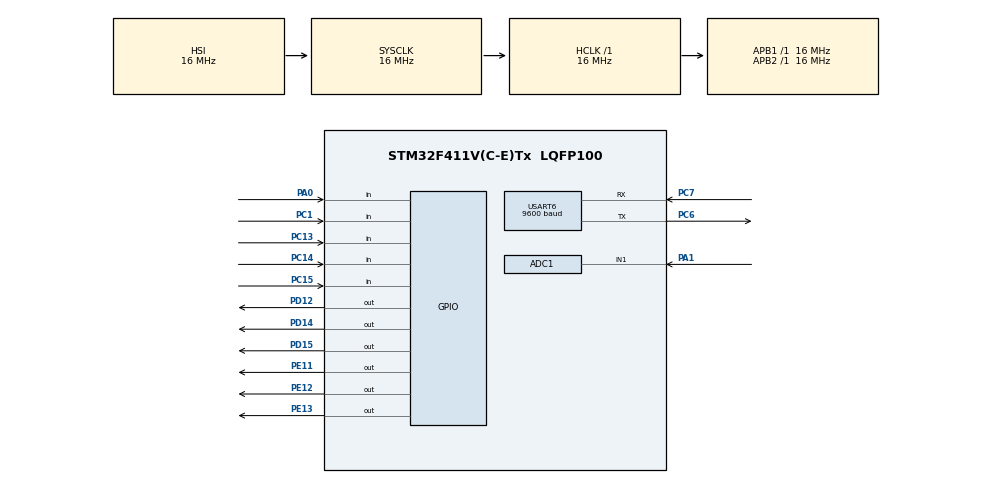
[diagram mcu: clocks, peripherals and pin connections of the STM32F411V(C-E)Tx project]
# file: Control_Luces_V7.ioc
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ADC1.Channel-16\#ChannelRegularConversion=ADC_CHANNEL_1
ADC1.NbrOfConversionFlag=1
ADC1.Rank-16\#ChannelRegularConversion=1
ADC1.Resolution=ADC_RESOLUTION_10B
ADC1.SamplingTime-16\#ChannelRegularConversion=ADC_SAMPLETIME_3CYCLES
ADC1.master=1
Mcu.Family=STM32F4
Mcu.Name=STM32F411V(C-E)Tx
Mcu.Package=LQFP100
NVIC.ADC_IRQn=true\:0\:0\:false\:true\:true\:2\:true
NVIC.PriorityGroup=NVIC_PRIORITYGROUP_4
NVIC.TIM3_IRQn=true\:0\:0\:false\:true\:true\:1\:true
NVIC.USART6_IRQn=true\:0\:0\:false\:true\:true\:3\:true
PA0-WKUP.Signal=GPIO_Input
PA1.Signal=ADCx_IN1
PC1.Signal=GPIO_Input
PC13-ANTI_TAMP.Signal=GPIO_Input
PC14-OSC32_IN.Signal=GPIO_Input
PC15-OSC32_OUT.Signal=GPIO_Input
PC6.Mode=Asynchronous
PC6.Signal=USART6_TX
PC7.Mode=Asynchronous
PC7.Signal=USART6_RX
PD12.Signal=GPIO_Output
PD14.Signal=GPIO_Output
PD15.Signal=GPIO_Output
PE11.Signal=GPIO_Output
PE12.Signal=GPIO_Output
PE13.Signal=GPIO_Output
ProjectManager.HeapSize=0x200
ProjectManager.StackSize=0x400
ProjectManager.TargetToolchain=MDK-ARM V5
RCC.AHBFreq_Value=16000000
RCC.APB1Freq_Value=16000000
RCC.APB2Freq_Value=16000000
RCC.CortexFreq_Value=16000000
RCC.HSE_VALUE=25000000
RCC.HSI_VALUE=16000000
RCC.LSE_VALUE=32768
RCC.SYSCLKFreq_VALUE=16000000
RCC.VCOOutputFreq_Value=192000000
SH.ADCx_IN1.0=ADC1_IN1,IN1
TIM3.Period=1600
TIM3.Prescaler=35999
USART6.BaudRate=9600
USART6.VirtualMode=VM_ASYNC
VP_TIM3_VS_ClockSourceINT.Mode=Internal
board=custom

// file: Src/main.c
/* USER CODE BEGIN Header */
/**
  ******************************************************************************
  * @file           : main.c
  * @brief          : Main program body
  ******************************************************************************
  ** This notice applies to any and all portions of this file
  * that are not between comment pairs USER CODE BEGIN and
  * USER CODE END. Other portions of this file, whether
  * inserted by the user or by software development tools
  * are owned by their respective copyright owners.
  *
  * COPYRIGHT(c) 2018 STMicroelectronics
  *
  * Redistribution and use in source and binary forms, with or without modification,
  * are permitted provided that the following conditions are met:
  *   1. Redistributions of source code must retain the above copyright notice,
  *      this list of conditions and the following disclaimer.
  *   2. Redistributions in binary form must reproduce the above copyright notice,
  *      this list of conditions and the following disclaimer in the documentation
  *      and/or other materials provided with the distribution.
  *   3. Neither the name of STMicroelectronics nor the names of its contributors
  *      may be used to endorse or promote products derived from this software
  *      without specific prior written permission.
  *
  * THIS SOFTWARE IS PROVIDED BY THE COPYRIGHT HOLDERS AND CONTRIBUTORS "AS IS"
  * AND ANY EXPRESS OR IMPLIED WARRANTIES, INCLUDING, BUT NOT LIMITED TO, THE
  * IMPLIED WARRANTIES OF MERCHANTABILITY AND FITNESS FOR A PARTICULAR PURPOSE ARE
  * DISCLAIMED. IN NO EVENT SHALL THE COPYRIGHT HOLDER OR CONTRIBUTORS BE LIABLE
  * FOR ANY DIRECT, INDIRECT, INCIDENTAL, SPECIAL, EXEMPLARY, OR CONSEQUENTIAL
  * DAMAGES (INCLUDING, BUT NOT LIMITED TO, PROCUREMENT OF SUBSTITUTE GOODS OR
  * SERVICES; LOSS OF USE, DATA, OR PROFITS; OR BUSINESS INTERRUPTION) HOWEVER
  * CAUSED AND ON ANY THEORY OF LIABILITY, WHETHER IN CONTRACT, STRICT LIABILITY,
  * OR TORT (INCLUDING NEGLIGENCE OR OTHERWISE) ARISING IN ANY WAY OUT OF THE USE
  * OF THIS SOFTWARE, EVEN IF ADVISED OF THE POSSIBILITY OF SUCH DAMAGE.
  *
  ******************************************************************************
  */
/* USER CODE END Header */

#include "main.h"

/* USER CODE BEGIN Includes */
#include <string.h>
#include "stm32f4xx_hal.h"
/* USER CODE END Includes */

/* USER CODE BEGIN PD */
#define REF_Debounce 100
#define DIF_Temp 1

/* USER CODE END PD */

ADC_HandleTypeDef hadc1;
TIM_HandleTypeDef htim3;
UART_HandleTypeDef huart6;

/* USER CODE BEGIN PV */
//Para modos de funcionamiento
volatile int EnEspera_Funcionando = 0;
volatile int user_mode = 0;
int Sis_BT = 0;

//Para el debounce
extern uint32_t last_time;
extern uint32_t counter_ms;

//Para estado de los pulsadores
int boton_pulsado_modo = 0;
int boton_pulsado_azul = 0;
int boton_pulsado_L1 = 0;
int boton_pulsado_L2 = 0;
int boton_pulsado_L3 = 0;
int N = 0;

//Para marcar en que momento de la secuencia de user_mode = 1 se encuentra
volatile int paso = 0;

//Para el conversor analógico-digital
uint32_t adcValue;
float temperature;
float temp_ambiente;
int temperatura_tomada;
int sensor_activa;

//Para comunicación serie bluetooth
char rx_buffer[10];
char tx_buffer[10];

/* USER CODE END PV */

void SystemClock_Config(void);
static void MX_GPIO_Init(void);
static void MX_TIM3_Init(void);
static void MX_ADC1_Init(void);
static void MX_USART6_UART_Init(void);
static void MX_NVIC_Init(void);
/* USER CODE BEGIN PFP */
void ConfigureSysTick(void);
uint32_t millis(void);

/* USER CODE END PFP */

int main(void)
{

  /* MCU Configuration--------------------------------------------------------*/

  /* Reset of all peripherals, Initializes the Flash interface and the Systick. */
  HAL_Init();

  /* Configure the system clock */
  SystemClock_Config();

  /* Initialize all configured peripherals */
  MX_GPIO_Init();
  MX_TIM3_Init();
  MX_ADC1_Init();
  MX_USART6_UART_Init();

  /* Initialize interrupts */
  MX_NVIC_Init();
  /* USER CODE BEGIN 2 */

	//Inicialización de timers
	SysTick_Config(SystemCoreClock/1000); //Para interrupciones cada 1ms
	HAL_TIM_Base_Start_IT(&htim3);
	NVIC_DisableIRQ(TIM3_IRQn);

	//Inicialización de variables
	user_mode = 0;
	EnEspera_Funcionando = 0;
	boton_pulsado_modo = 0;
	boton_pulsado_azul = 0;
  boton_pulsado_L1 = 0;
  boton_pulsado_L2 = 0;
  boton_pulsado_L3 = 0;
	paso = 0;

	//Para el oonversor analógico-digital
	adcValue = 0;
	temperature = 0;
	temp_ambiente = 0;
	temperatura_tomada = 0;
	sensor_activa = 0;
  /* USER CODE END 2 */

  /* Infinite loop */
  while (1)
  {

    /* USER CODE BEGIN 3 */

////////////////////////////////////////////CÓDIGO PARA EL FUNCIONAMIENTO DEL SENSOR DE TEMPERATURA////////////////////////////////////////////

		HAL_ADC_Start(&hadc1);

		if (HAL_ADC_PollForConversion(&hadc1, 5) == HAL_OK){
			adcValue = HAL_ADC_GetValue(&hadc1); //Si la conversión es exitosa, leemos el valor adc.
		}

		if(adcValue > 0){
			temperature = (float)adcValue/1024;
			temperature = temperature * 0.7; //Obtener temperatura en forma de voltaje
			temperature = temperature - 0.01;	//Resta el offset de la recta
			temperature = temperature * 100; //Obtener temperatura en forma de grados
		}

		if (temperatura_tomada == 0){
			temp_ambiente = temperature;
			int int_temp_ambiente = (int)temp_ambiente;

			HAL_UART_Transmit(&huart6, (uint8_t*)tx_buffer, sprintf (tx_buffer, "Temperatura ambiente: %d\n", int_temp_ambiente), 500);
			temperatura_tomada = 1;
		}

		if (temperature >= (temp_ambiente + DIF_Temp)){
			HAL_GPIO_WritePin(GPIOD, GPIO_PIN_15, GPIO_PIN_SET);
		}

		else{
			HAL_GPIO_WritePin(GPIOD, GPIO_PIN_15, GPIO_PIN_RESET);
		}

		HAL_Delay(50);

////////////////////////////////////////////CÓDIGO PARA EL FUNCIONAMIENTO DEL SISTEMA DE LUCES CON MOVIL////////////////////////////////////////////

		HAL_UART_Receive(&huart6, (uint8_t*)rx_buffer, 10, 500);

			//MOSTRAR TEMPERTAURA
			if(rx_buffer[0] == 'T' && rx_buffer[1] == 'E' && rx_buffer[2] == 'M' && rx_buffer[3] == 'P'){
				int int_temperatura = temperature;
				HAL_UART_Transmit(&huart6, (uint8_t*)tx_buffer, sprintf (tx_buffer, "Temperatura: %d\n", int_temperatura), 500);
				memset (rx_buffer, 0, 10);
			}

			//LUZ 1
			else if(rx_buffer[0] == 'L' && rx_buffer[1] == '1' && rx_buffer[2] == 'O' && rx_buffer[3] == 'N'){
				HAL_GPIO_WritePin(GPIOE, GPIO_PIN_11, GPIO_PIN_RESET);
				memset (rx_buffer, 0, 10);
				HAL_UART_Transmit(&huart6, (uint8_t*)tx_buffer, sprintf (tx_buffer, "Lampara 1 encendida\n"), 500);
			}

			else if(rx_buffer[0] == 'L' && rx_buffer[1] == '1' && rx_buffer[2] == 'O' && rx_buffer[3] == 'F' && rx_buffer[4] == 'F'){
				HAL_GPIO_WritePin(GPIOE, GPIO_PIN_11, GPIO_PIN_SET);
				memset (rx_buffer, 0, 10);
				HAL_UART_Transmit(&huart6, (uint8_t*)tx_buffer, sprintf (tx_buffer, "Lampara 1 apagada\n"), 500);
			}

			//LUZ 2
			else if(rx_buffer[0] == 'L' && rx_buffer[1] == '2' && rx_buffer[2] == 'O' && rx_buffer[3] == 'N'){
				HAL_GPIO_WritePin(GPIOE, GPIO_PIN_12, GPIO_PIN_RESET);
				memset (rx_buffer, 0, 10);
				HAL_UART_Transmit(&huart6, (uint8_t*)tx_buffer, sprintf (tx_buffer, "Lampara 2 encendida\n"), 500);
			}

			else if(rx_buffer[0] == 'L' && rx_buffer[1] == '2' && rx_buffer[2] == 'O' && rx_buffer[3] == 'F' && rx_buffer[4] == 'F'){
				HAL_GPIO_WritePin(GPIOE, GPIO_PIN_12, GPIO_PIN_SET);
				memset (rx_buffer, 0, 10);
				HAL_UART_Transmit(&huart6, (uint8_t*)tx_buffer, sprintf (tx_buffer, "Lampara 2 apagada\n"), 500);
			}

			//LUZ 3
			else if(rx_buffer[0] == 'L' && rx_buffer[1] == '3' && rx_buffer[2] == 'O' && rx_buffer[3] == 'N'){
				HAL_GPIO_WritePin(GPIOE, GPIO_PIN_13, GPIO_PIN_RESET);
				memset (rx_buffer, 0, 10);
				HAL_UART_Transmit(&huart6, (uint8_t*)tx_buffer, sprintf (tx_buffer, "Lampara 3 encendida\n"), 500);
			}

			else if(rx_buffer[0] == 'L' && rx_buffer[1] == '3' && rx_buffer[2] == 'O' && rx_buffer[3] == 'F' && rx_buffer[4] == 'F'){
				HAL_GPIO_WritePin(GPIOE, GPIO_PIN_13, GPIO_PIN_SET);
				memset (rx_buffer, 0, 10);
				HAL_UART_Transmit(&huart6, (uint8_t*)tx_buffer, sprintf (tx_buffer, "Lampara 3 apagada\n"), 500);

			}

////////////////////////////////////////CÓDIGO PARA EL FUNCIONAMIENTO DEL SISTEMA DE LUCES SIN MÓVIL////////////////////////////////////////

		if (rx_buffer[0] == 'S' && rx_buffer[1] == 'I' && rx_buffer[2] == 'S' && rx_buffer[3] == 'O' && rx_buffer[4] == 'F' && rx_buffer[5] == 'F'){
			Sis_BT = 1; //EL SISTEMA PASA A ESTADO STANDBY POR BLUETOOTH
		}

		else if (rx_buffer[0] == 'S' && rx_buffer[1] == 'I' && rx_buffer[2] == 'S' && rx_buffer[3] == 'O' && rx_buffer[4] == 'N') {
			Sis_BT = 2; //EL SISTEMA PASA A ESTADO DE FUNCIONAMIENTO POR BLUETOOTH
		}

		if (HAL_GPIO_ReadPin(GPIOA, GPIO_PIN_0) == 1 && boton_pulsado_azul == 0){
			last_time = millis(); //Guarda el valor de millis()
			boton_pulsado_azul = 1;
		}

		if (((HAL_GPIO_ReadPin(GPIOA, GPIO_PIN_0) == 1) && ((millis() - last_time) > REF_Debounce)) || Sis_BT == 1 || Sis_BT == 2){
			boton_pulsado_azul = 0;

			if (EnEspera_Funcionando == 0 || Sis_BT == 1){ //APAGA EL SISTEMA (STANDBY)
				memset (rx_buffer, 0, 10);
			  HAL_GPIO_WritePin(GPIOE, GPIO_PIN_11, GPIO_PIN_SET);
				HAL_GPIO_WritePin(GPIOE, GPIO_PIN_12, GPIO_PIN_SET);
				HAL_GPIO_WritePin(GPIOE, GPIO_PIN_13, GPIO_PIN_SET);
				EnEspera_Funcionando = 1;
				HAL_UART_Transmit(&huart6, (uint8_t*)tx_buffer, sprintf (tx_buffer, "Sistema apagado (stanby)\n"), 500);

			}

			else if(EnEspera_Funcionando == 1 || Sis_BT == 2){ //PONE EL SISTEMA EN FUNCIONAMIENTO
				memset (rx_buffer, 0, 10);
			  HAL_GPIO_WritePin(GPIOE, GPIO_PIN_11, GPIO_PIN_SET);
				HAL_GPIO_WritePin(GPIOE, GPIO_PIN_12, GPIO_PIN_SET);
				HAL_GPIO_WritePin(GPIOE, GPIO_PIN_13, GPIO_PIN_SET);
				EnEspera_Funcionando = 0;
				HAL_UART_Transmit(&huart6, (uint8_t*)tx_buffer, sprintf (tx_buffer, "Sistema en funcionamiento\n"), 500);
			}

			user_mode = 0;
			Sis_BT = 0;
		}

		if (EnEspera_Funcionando == 0){ //ESTADO EN FUNCIONAMIENTO

			HAL_GPIO_WritePin(GPIOD, GPIO_PIN_14, GPIO_PIN_RESET); //Led rojo se apaga

			//Se pulsa el boton de cambio de modo
			if ((HAL_GPIO_ReadPin(GPIOC, GPIO_PIN_1) == 1) && boton_pulsado_modo == 0){
					last_time = millis(); //Guarda el valor de millis()
					boton_pulsado_modo = 1;
			}

			//Se confirma que se ha pulsado y cambia a modo automático
			if(((user_mode == 0 && HAL_GPIO_ReadPin(GPIOC, GPIO_PIN_1) == 0) && ((millis() - last_time) > REF_Debounce) && (boton_pulsado_modo == 1)) || (rx_buffer[0] == 'M' && rx_buffer[1] == 'O' && rx_buffer[2] == 'D' && rx_buffer[3] == 'A')){
					memset (rx_buffer, 0, 10);
					NVIC_EnableIRQ(TIM3_IRQn);
					HAL_GPIO_WritePin (GPIOD, GPIO_PIN_12, GPIO_PIN_SET); //Led verde encendido
					HAL_GPIO_WritePin(GPIOE, GPIO_PIN_11, GPIO_PIN_SET);
					HAL_GPIO_WritePin(GPIOE, GPIO_PIN_12, GPIO_PIN_SET);
					HAL_GPIO_WritePin(GPIOE, GPIO_PIN_13, GPIO_PIN_SET);
					user_mode = 1;
		  		HAL_UART_Transmit(&huart6, (uint8_t*)tx_buffer, sprintf (tx_buffer, "Cambio a modo automatico\n"), 500);
			}

			//Se confirma que se ha pulsado y cambia a modo manual
			else if((user_mode == 1 && (HAL_GPIO_ReadPin(GPIOC, GPIO_PIN_1) == 0) && ((millis() - last_time) > REF_Debounce) && (boton_pulsado_modo == 1)) || (rx_buffer[0] == 'M' && rx_buffer[1] == 'O' && rx_buffer[2] == 'D' && rx_buffer[3] == 'M')){
					memset (rx_buffer, 0, 10);
					NVIC_DisableIRQ(TIM3_IRQn);
					HAL_GPIO_WritePin(GPIOE, GPIO_PIN_11, GPIO_PIN_SET);
					HAL_GPIO_WritePin(GPIOE, GPIO_PIN_12, GPIO_PIN_SET);
					HAL_GPIO_WritePin(GPIOE, GPIO_PIN_13, GPIO_PIN_SET);
					user_mode = 0;
		  		HAL_UART_Transmit(&huart6, (uint8_t*)tx_buffer, sprintf (tx_buffer, "Cambio a modo manual\n"), 500);

					boton_pulsado_modo = 0;

			}

			//USUARIO EN MODO MANUAL
			if (user_mode == 0){

				HAL_GPIO_WritePin (GPIOD, GPIO_PIN_12, GPIO_PIN_RESET); //Led verde apagado

				//Si se pulsa el primer pulsador...
				if (HAL_GPIO_ReadPin(GPIOC, GPIO_PIN_15) == 0 && boton_pulsado_L1 == 0){
					last_time = millis(); //Guarda el valor de millis()
					boton_pulsado_L1 = 1;
				}

				if ((HAL_GPIO_ReadPin(GPIOC, GPIO_PIN_15) == 0) && (millis() - last_time) > REF_Debounce && (boton_pulsado_L1 == 1)){
						HAL_GPIO_TogglePin(GPIOE, GPIO_PIN_11);
						boton_pulsado_L1 = 0;
				}

				//Si se detecta una temperatura superior a la ambiente en tres grados o se pulsa el segundo pulsador...
				if (temperature <= (temp_ambiente + DIF_Temp) && sensor_activa == 0){
					if (HAL_GPIO_ReadPin(GPIOC, GPIO_PIN_14) == 0 && boton_pulsado_L2 == 0){
						last_time = millis(); //Guarda el valor de millis()
						boton_pulsado_L2 = 1;
					}

					if ((HAL_GPIO_ReadPin(GPIOC, GPIO_PIN_14) == 0) && (millis() - last_time) > REF_Debounce && (boton_pulsado_L2 == 1)){
							HAL_GPIO_TogglePin(GPIOE, GPIO_PIN_12);
							boton_pulsado_L2 = 0;
					}
				}

				if (sensor_activa == 0 && temperature > (temp_ambiente + DIF_Temp)){
					HAL_GPIO_WritePin(GPIOE, GPIO_PIN_12, GPIO_PIN_RESET);
					sensor_activa = 1;
				}

				else if (sensor_activa == 1 && (temperature <= (temp_ambiente + DIF_Temp))){
					HAL_GPIO_WritePin(GPIOE, GPIO_PIN_12, GPIO_PIN_SET);
					sensor_activa = 0;
				}

				//Si se pulsa el tercer pulsador...
				if (HAL_GPIO_ReadPin(GPIOC, GPIO_PIN_13) == 0 && boton_pulsado_L3 == 0){
					last_time = millis(); //Guarda el valor de millis()
					boton_pulsado_L3 = 1;
				}

				if ((HAL_GPIO_ReadPin(GPIOC, GPIO_PIN_13) == 0) && (millis() - last_time) > REF_Debounce && (boton_pulsado_L3 == 1)){
						HAL_GPIO_TogglePin(GPIOE, GPIO_PIN_13);
						boton_pulsado_L3 = 0;
				}
			}
		}

		else if (EnEspera_Funcionando == 1){ //ESTADO STANDBY
			HAL_GPIO_WritePin(GPIOD, GPIO_PIN_14, GPIO_PIN_SET); //Led rojo
			HAL_GPIO_WritePin (GPIOD, GPIO_PIN_12, GPIO_PIN_RESET); //Led verde

			HAL_GPIO_WritePin(GPIOE, GPIO_PIN_11, GPIO_PIN_SET);
			HAL_GPIO_WritePin(GPIOE, GPIO_PIN_12, GPIO_PIN_SET);
			HAL_GPIO_WritePin(GPIOE, GPIO_PIN_13, GPIO_PIN_SET);
		}
  }
  /* USER CODE END 3 */
}

void SystemClock_Config(void)
{
  RCC_OscInitTypeDef RCC_OscInitStruct = {0};
  RCC_ClkInitTypeDef RCC_ClkInitStruct = {0};

  /**Configure the main internal regulator output voltage
  */
  __HAL_RCC_PWR_CLK_ENABLE();
  __HAL_PWR_VOLTAGESCALING_CONFIG(PWR_REGULATOR_VOLTAGE_SCALE1);
  /**Initializes the CPU, AHB and APB busses clocks
  */
  RCC_OscInitStruct.OscillatorType = RCC_OSCILLATORTYPE_HSI;
  RCC_OscInitStruct.HSIState = RCC_HSI_ON;
  RCC_OscInitStruct.HSICalibrationValue = RCC_HSICALIBRATION_DEFAULT;
  RCC_OscInitStruct.PLL.PLLState = RCC_PLL_NONE;
  if (HAL_RCC_OscConfig(&RCC_OscInitStruct) != HAL_OK)
  {
    Error_Handler();
  }
  /**Initializes the CPU, AHB and APB busses clocks
  */
  RCC_ClkInitStruct.ClockType = RCC_CLOCKTYPE_HCLK|RCC_CLOCKTYPE_SYSCLK
                              |RCC_CLOCKTYPE_PCLK1|RCC_CLOCKTYPE_PCLK2;
  RCC_ClkInitStruct.SYSCLKSource = RCC_SYSCLKSOURCE_HSI;
  RCC_ClkInitStruct.AHBCLKDivider = RCC_SYSCLK_DIV1;
  RCC_ClkInitStruct.APB1CLKDivider = RCC_HCLK_DIV1;
  RCC_ClkInitStruct.APB2CLKDivider = RCC_HCLK_DIV1;

  if (HAL_RCC_ClockConfig(&RCC_ClkInitStruct, FLASH_LATENCY_0) != HAL_OK)
  {
    Error_Handler();
  }
}

/**
  * @brief NVIC Configuration.
  * @retval None
  */
static void MX_NVIC_Init(void)
{
  /* TIM3_IRQn interrupt configuration */
  HAL_NVIC_SetPriority(TIM3_IRQn, 0, 0);
  HAL_NVIC_EnableIRQ(TIM3_IRQn);
  /* ADC_IRQn interrupt configuration */
  HAL_NVIC_SetPriority(ADC_IRQn, 0, 0);
  HAL_NVIC_EnableIRQ(ADC_IRQn);
  /* USART6_IRQn interrupt configuration */
  HAL_NVIC_SetPriority(USART6_IRQn, 0, 0);
  HAL_NVIC_EnableIRQ(USART6_IRQn);
}

static void MX_ADC1_Init(void)
{

  ADC_ChannelConfTypeDef sConfig = {0};

  /**Configure the global features of the ADC (Clock, Resolution, Data Alignment and number of conversion)
  */
  hadc1.Instance = ADC1;
  hadc1.Init.ClockPrescaler = ADC_CLOCK_SYNC_PCLK_DIV2;
  hadc1.Init.Resolution = ADC_RESOLUTION_10B;
  hadc1.Init.ScanConvMode = DISABLE;
  hadc1.Init.ContinuousConvMode = DISABLE;
  hadc1.Init.DiscontinuousConvMode = DISABLE;
  hadc1.Init.ExternalTrigConvEdge = ADC_EXTERNALTRIGCONVEDGE_NONE;
  hadc1.Init.ExternalTrigConv = ADC_SOFTWARE_START;
  hadc1.Init.DataAlign = ADC_DATAALIGN_RIGHT;
  hadc1.Init.NbrOfConversion = 1;
  hadc1.Init.DMAContinuousRequests = DISABLE;
  hadc1.Init.EOCSelection = ADC_EOC_SINGLE_CONV;
  if (HAL_ADC_Init(&hadc1) != HAL_OK)
  {
    Error_Handler();
  }
  /**Configure for the selected ADC regular channel its corresponding rank in the sequencer and its sample time.
  */
  sConfig.Channel = ADC_CHANNEL_1;
  sConfig.Rank = 1;
  sConfig.SamplingTime = ADC_SAMPLETIME_3CYCLES;
  if (HAL_ADC_ConfigChannel(&hadc1, &sConfig) != HAL_OK)
  {
    Error_Handler();
  }

}

static void MX_TIM3_Init(void)
{

  TIM_ClockConfigTypeDef sClockSourceConfig = {0};
  TIM_MasterConfigTypeDef sMasterConfig = {0};

  htim3.Instance = TIM3;
  htim3.Init.Prescaler = 35999;
  htim3.Init.CounterMode = TIM_COUNTERMODE_UP;
  htim3.Init.Period = 1600;
  htim3.Init.ClockDivision = TIM_CLOCKDIVISION_DIV1;
  if (HAL_TIM_Base_Init(&htim3) != HAL_OK)
  {
    Error_Handler();
  }
  sClockSourceConfig.ClockSource = TIM_CLOCKSOURCE_INTERNAL;
  if (HAL_TIM_ConfigClockSource(&htim3, &sClockSourceConfig) != HAL_OK)
  {
    Error_Handler();
  }
  sMasterConfig.MasterOutputTrigger = TIM_TRGO_RESET;
  sMasterConfig.MasterSlaveMode = TIM_MASTERSLAVEMODE_DISABLE;
  if (HAL_TIMEx_MasterConfigSynchronization(&htim3, &sMasterConfig) != HAL_OK)
  {
    Error_Handler();
  }

}

static void MX_USART6_UART_Init(void)
{

  huart6.Instance = USART6;
  huart6.Init.BaudRate = 9600;
  huart6.Init.WordLength = UART_WORDLENGTH_8B;
  huart6.Init.StopBits = UART_STOPBITS_1;
  huart6.Init.Parity = UART_PARITY_NONE;
  huart6.Init.Mode = UART_MODE_TX_RX;
  huart6.Init.HwFlowCtl = UART_HWCONTROL_NONE;
  huart6.Init.OverSampling = UART_OVERSAMPLING_16;
  if (HAL_UART_Init(&huart6) != HAL_OK)
  {
    Error_Handler();
  }

}

static void MX_GPIO_Init(void)
{
  GPIO_InitTypeDef GPIO_InitStruct = {0};

  /* GPIO Ports Clock Enable */
  __HAL_RCC_GPIOC_CLK_ENABLE();
  __HAL_RCC_GPIOA_CLK_ENABLE();
  __HAL_RCC_GPIOE_CLK_ENABLE();
  __HAL_RCC_GPIOD_CLK_ENABLE();

  /*Configure GPIO pin Output Level */
  HAL_GPIO_WritePin(GPIOE, GPIO_PIN_11|GPIO_PIN_12|GPIO_PIN_13, GPIO_PIN_SET);

  /*Configure GPIO pin Output Level */
  HAL_GPIO_WritePin(GPIOD, GPIO_PIN_12|GPIO_PIN_14|GPIO_PIN_15, GPIO_PIN_RESET);

  /*Configure GPIO pins : PC13 PC14 PC15 PC1 */
  GPIO_InitStruct.Pin = GPIO_PIN_13|GPIO_PIN_14|GPIO_PIN_15|GPIO_PIN_1;
  GPIO_InitStruct.Mode = GPIO_MODE_INPUT;
  GPIO_InitStruct.Pull = GPIO_NOPULL;
  HAL_GPIO_Init(GPIOC, &GPIO_InitStruct);

  /*Configure GPIO pin : PA0 */
  GPIO_InitStruct.Pin = GPIO_PIN_0;
  GPIO_InitStruct.Mode = GPIO_MODE_INPUT;
  GPIO_InitStruct.Pull = GPIO_NOPULL;
  HAL_GPIO_Init(GPIOA, &GPIO_InitStruct);

  /*Configure GPIO pins : PE11 PE12 PE13 */
  GPIO_InitStruct.Pin = GPIO_PIN_11|GPIO_PIN_12|GPIO_PIN_13;
  GPIO_InitStruct.Mode = GPIO_MODE_OUTPUT_PP;
  GPIO_InitStruct.Pull = GPIO_NOPULL;
  GPIO_InitStruct.Speed = GPIO_SPEED_FREQ_LOW;
  HAL_GPIO_Init(GPIOE, &GPIO_InitStruct);

  /*Configure GPIO pins : PD12 PD14 PD15 */
  GPIO_InitStruct.Pin = GPIO_PIN_12|GPIO_PIN_14|GPIO_PIN_15;
  GPIO_InitStruct.Mode = GPIO_MODE_OUTPUT_PP;
  GPIO_InitStruct.Pull = GPIO_NOPULL;
  GPIO_InitStruct.Speed = GPIO_SPEED_FREQ_LOW;
  HAL_GPIO_Init(GPIOD, &GPIO_InitStruct);

}

/* USER CODE BEGIN 4 */
void HAL_TIM_PeriodElapsedCallback(TIM_HandleTypeDef *htim)
{
	if (htim->Instance == TIM3){	//Si la fuente es TIM3

		if (user_mode == 1){

			if (paso == 0){
				HAL_GPIO_TogglePin(GPIOE, GPIO_PIN_11);
				paso++;
			}

			else if (paso == 1){
				HAL_GPIO_TogglePin(GPIOE, GPIO_PIN_12);
				paso++;
			}

			else if (paso == 2){
				HAL_GPIO_TogglePin(GPIOE, GPIO_PIN_11);
				HAL_GPIO_TogglePin(GPIOE, GPIO_PIN_13);
				paso++;
			}

			else if (paso == 3){
				HAL_GPIO_TogglePin(GPIOE, GPIO_PIN_11);
				HAL_GPIO_TogglePin(GPIOE, GPIO_PIN_12);
				paso++;
			}

			else if (paso == 4){
				HAL_GPIO_TogglePin(GPIOE, GPIO_PIN_11);
				HAL_GPIO_TogglePin(GPIOE, GPIO_PIN_12);
				HAL_GPIO_TogglePin(GPIOE, GPIO_PIN_13);
				paso = 0;
			}
		}
	}
}

uint32_t millis() {
  return counter_ms;
}
/* USER CODE END 4 */

void Error_Handler(void)
{
}

/************************ (C) COPYRIGHT STMicroelectronics *****END OF FILE****/
